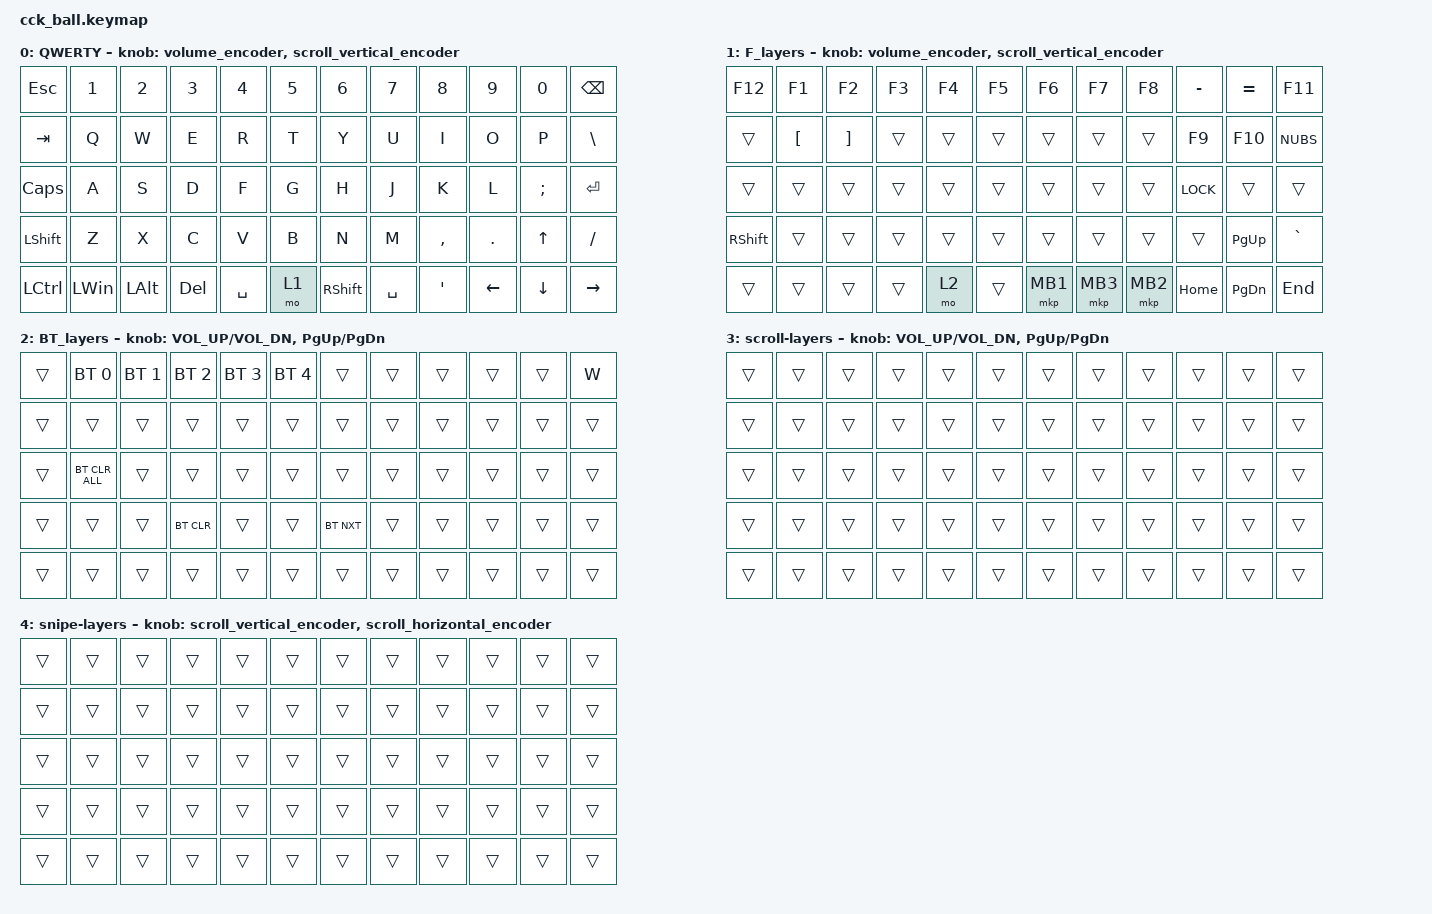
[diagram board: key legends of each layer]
#define ZMK_POINTING_DEFAULT_MOVE_VAL 1000 // 600
#define ZMK_POINTING_DEFAULT_SCRL_VAL 12   // 10

#include <input/processors.dtsi>
#include <zephyr/dt-bindings/input/input-event-codes.h>
#include <behaviors.dtsi>
#include <dt-bindings/zmk/bt.h>
#include <dt-bindings/zmk/keys.h>
#include <dt-bindings/zmk/pointing.h>

&mmv_input_listener { input-processors = <&zip_xy_scaler 2 1>; };

&msc_input_listener { input-processors = <&zip_scroll_scaler 2 1>; };

&msc {
    acceleration-exponent = <0>;      // 0
    time-to-max-speed-ms = <300>;       // 300
    delay-ms = <0>;                   // 0
};

&mmv {
    time-to-max-speed-ms = <500>;
    acceleration-exponent = <1>;
    trigger-period-ms = <16>;
};

&soft_off { hold-time-ms = <2000>; };

/ {
    // Up and down scroll encoder behavior
    scroll_vertical_encoder: scroll_vertical_encoder {
        compatible = "zmk,behavior-sensor-rotate";
        #sensor-binding-cells = <0>;
        bindings = <&msc SCRL_UP>, <&msc SCRL_DOWN>;
        tap-ms = <100>;
    };

    // Left and right scroll encoder behavior
    scroll_horizontal_encoder: scroll_horizontal_encoder {
        compatible = "zmk,behavior-sensor-rotate";
        #sensor-binding-cells = <0>;
        bindings = <&msc SCRL_LEFT>, <&msc SCRL_RIGHT>;
        tap-ms = <100>;
    };
    
    volume_encoder: volume_encoder {
        compatible = "zmk,behavior-sensor-rotate";
        #sensor-binding-cells = <0>;
        bindings = <&kp C_VOL_UP>, <&kp C_VOL_DN>;
        tap-ms = <100>;
    };
    
    behaviors {
    };

    keymap {
        compatible = "zmk,keymap";

        QWERTY {
            bindings = <
&kp ESC           &kp N1        &kp N2        &kp N3      &kp N4     &kp N5  &kp N6  &kp N7     &kp N8     &kp N9          &kp N0          &kp BACKSPACE
&kp TAB           &kp Q         &kp W         &kp E       &kp R      &kp T   &kp Y   &kp U      &kp I      &kp O           &kp P           &kp BSLH
&kp CAPSLOCK      &kp A         &kp S       &kp D       &kp F    &kp G   &kp H   &kp J      &kp K      &kp L           &kp SEMI        &kp ENTER
&kp LEFT_SHIFT    &kp Z         &kp X         &kp C       &kp V      &kp B   &kp N   &kp M      &kp COMMA  &kp DOT         &kp UP_ARROW    &kp FSLH
&kp LEFT_CONTROL  &kp LEFT_WIN  &kp LEFT_ALT  &kp DELETE  &kp SPACE  &mo 1   &kp RIGHT_SHIFT   &kp SPACE  &kp SQT  &kp LEFT_ARROW  &kp DOWN_ARROW  &kp RIGHT_ARROW
            >;

            sensor-bindings = <&volume_encoder>, <&scroll_vertical_encoder>;
        };

        F_layers {
            bindings = <
&kp F12 	&kp F1  &kp F2  &kp F3  &kp F4  &kp F5  &kp F6 	   &kp F7     &kp F8     &kp MINUS &kp EQL   &kp F11
&trans 	&kp LBKT &kp RBKT  &trans  &trans  &trans  &trans     &trans     &trans     &kp F9    &kp F10   &kp NUBS
&trans   	&trans  &trans  &trans  &trans  &trans  &trans     &trans     &trans     &kp K_LOCK    &trans    &trans
&kp RIGHT_SHIFT   	&trans  &trans  &trans  &trans  &trans  &trans     &trans     &trans     &trans    &kp PG_UP &kp GRAVE
&trans   	&trans  &trans  &trans  &mo 2 &trans  &mkp MB1  &mkp MB3  &mkp MB2  &kp HOME  &kp PG_DN &kp END
            >;

            sensor-bindings = <&volume_encoder>, <&scroll_vertical_encoder>;
        };
        BT_layers {
            bindings = <
&trans  &bt BT_SEL 0    &bt BT_SEL 1  &bt BT_SEL 2  &bt BT_SEL 3  &bt BT_SEL 4  &trans      &trans  &trans  &trans  &trans  &kp W
&trans  &trans          &trans        &trans        &trans        &trans        &trans      &trans  &trans  &trans  &trans  &trans
&trans  &bt BT_CLR_ALL  &trans        &trans        &trans        &trans        &trans      &trans  &trans  &trans  &trans  &trans
&trans  &trans          &trans        &bt BT_CLR    &trans        &trans        &bt BT_NXT  &trans  &trans  &trans  &trans  &trans
&trans  &trans          &trans        &trans        &trans        &trans        &trans      &trans  &trans  &trans  &trans  &trans
            >;

            sensor-bindings = <&inc_dec_kp C_VOL_UP C_VOL_DN &inc_dec_kp PG_UP PG_DN>;
        };

        scroll-layers {
            bindings = <
&trans  &trans  &trans  &trans  &trans  &trans  &trans  &trans  &trans  &trans  &trans  &trans
&trans  &trans  &trans  &trans  &trans  &trans  &trans  &trans  &trans  &trans  &trans  &trans
&trans  &trans  &trans  &trans  &trans  &trans  &trans  &trans  &trans  &trans  &trans  &trans
&trans  &trans  &trans  &trans  &trans  &trans  &trans  &trans  &trans  &trans  &trans  &trans
&trans  &trans  &trans  &trans  &trans  &trans  &trans  &trans  &trans  &trans  &trans  &trans
            >;

            sensor-bindings = <&inc_dec_kp C_VOL_UP C_VOL_DN &inc_dec_kp PG_UP PG_DN>;
        };

        snipe-layers {
            bindings = <
&trans  &trans  &trans  &trans  &trans  &trans  &trans  &trans  &trans  &trans  &trans  &trans
&trans  &trans  &trans  &trans  &trans  &trans  &trans  &trans  &trans  &trans  &trans  &trans
&trans  &trans  &trans  &trans  &trans  &trans  &trans  &trans  &trans  &trans  &trans  &trans
&trans  &trans  &trans  &trans  &trans  &trans  &trans  &trans  &trans  &trans  &trans  &trans
&trans  &trans  &trans  &trans  &trans  &trans  &trans  &trans  &trans  &trans  &trans  &trans
            >;

            sensor-bindings = <&scroll_vertical_encoder>,   // 编码器1：上下滚动
                             <&scroll_horizontal_encoder>;  // 编码器2：左右滚动
        };
    };
};
